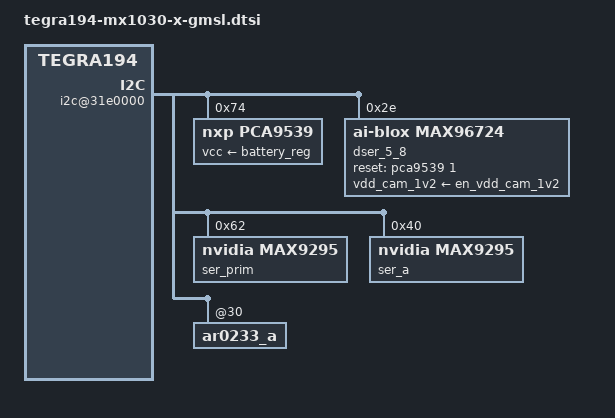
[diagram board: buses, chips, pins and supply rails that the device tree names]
/{

	i2c@31e0000 {
		pca9539: gpio@74 {
			compatible = "nxp,pca9539";
			reg = <0x74>;
			gpio-controller;
			#gpio-cells = <2>;
			vcc-supply = <&battery_reg>;
			dser_1_4_pwdnb {
				gpio-hog;
				gpios = <11 0>;
				output-high;
				label = "dser_1_4_pwdnb";
			};
			dser_5_8_pwdnb {
				gpio-hog;
				gpios = <1 0>;
				output-high;
				label = "dser_5_8_pwdnb";
			};
		};
		dser_5_8: max96724@2e {
			compatible = "ai-blox,max96724";
			reg = <0x2e>;
			csi-mode = "4x2";
			max-src = <2>;
			reset-gpios = <&pca9539 1 GPIO_ACTIVE_HIGH>;
			vdd_cam_1v2-supply= <&en_vdd_cam_1v2>;
		};

		ser_prim: max9295_prim@62 {
			compatible = "nvidia,max9295";
			reg = <0x62>;
			is-prim-ser;
		};

		ser_a: max9295_a@40 {
			compatible = "nvidia,max9295";
			reg = <0x40>;
			nvidia,gmsl-dser-device = <&dser_5_8>;
		};

		ar0233_a@30 {
			def-addr = <0x10>;
			/* Define any required hw resources needed by driver */
			/* ie. clocks, io pins, power sources */
			clocks = <&bpmp_clks TEGRA194_CLK_EXTPERIPH1>,
					 <&bpmp_clks TEGRA194_CLK_EXTPERIPH1>;
			clock-names = "extperiph1", "pllp_grtba";
			mclk = "extperiph1";
			nvidia,gmsl-ser-device = <&ser_a>;
			nvidia,gmsl-dser-device = <&dser_5_8>;
		};
	};
};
